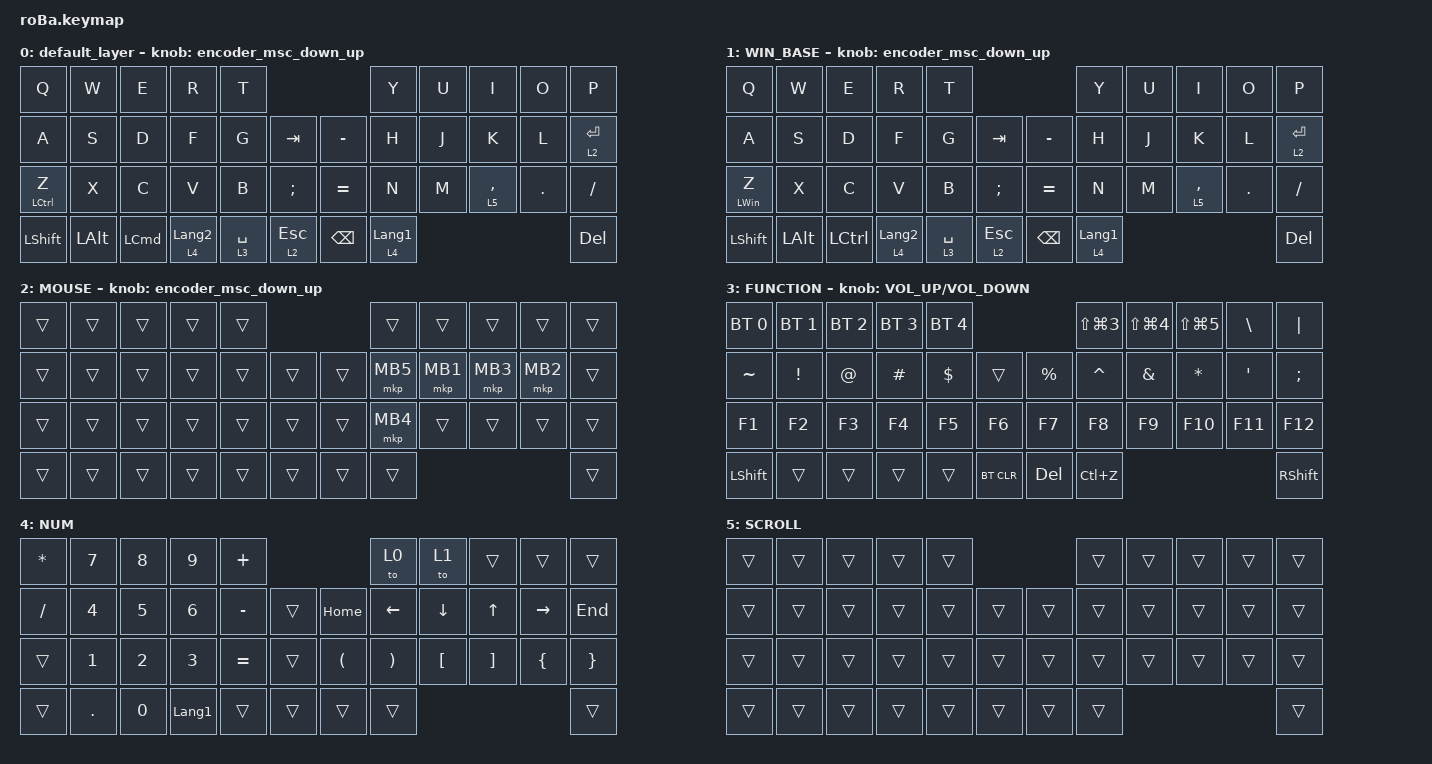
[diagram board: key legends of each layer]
#include <behaviors.dtsi>
#include <dt-bindings/zmk/bt.h>
#include <dt-bindings/zmk/keys.h>
#include <dt-bindings/zmk/pointing.h>

#define ZMK_POINTING_DEFAULT_SCRL_VAL 80

/* レイヤー定義を分かりやすくするために名前をつけておくと便利です */

#define MAC_BASE 0
#define WIN_BASE 1
#define MOUSE    2
#define FUNCTION 3
#define NUM      4
#define SCROLL   5

&mt {
    flavor = "balanced";
    quick-tap-ms = <0>;
};

&trackball { scroll-layers = <5>; };

/ {
    combos {
        compatible = "zmk,combos";

        tab {
            bindings = <&kp TAB>;
            key-positions = <11 12>;
        };

        shift_tab {
            bindings = <&kp LS(TAB)>;
            key-positions = <12 13>;
        };

        muhennkann {
            bindings = <&to_layer_0 INT_MUHENKAN>;
            key-positions = <11 10>;
        };

        double_quotation {
            bindings = <&kp DOUBLE_QUOTES>;
            key-positions = <20 21>;
        };

        eq {
            bindings = <&kp EQUAL>;
            key-positions = <24 25>;
        };
    };

    macros {
        to_layer_0: to_layer_0 {
            compatible = "zmk,behavior-macro-one-param";
            #binding-cells = <1>;
            bindings = <&to 0 &macro_param_1to1 &kp MACRO_PLACEHOLDER>;
            label = "TO_LAYER_0";
        };
    };

    behaviors {
        lt_to_layer_0: lt_to_layer_0 {
            compatible = "zmk,behavior-hold-tap";
            label = "LAYER_TAP_TO_0";
            bindings = <&mo>, <&to_layer_0>;

            #binding-cells = <2>;
            tapping-term-ms = <200>;
        };

        encoder_msc_down_up: encoder_msc_down_up {
            compatible = "zmk,behavior-sensor-rotate";
            label = "ENCODER_MSC_DOWN_UP";
            #sensor-binding-cells = <0>;
            bindings = <&msc SCRL_DOWN>, <&msc SCRL_UP>;

            tap-ms = <20>;
        };

        bs_del: backspace_delete {
            compatible = "zmk,behavior-mod-morph";
            #binding-cells = <0>;
            bindings = <&kp BACKSPACE>, <&kp DELETE>;

            mods = <(MOD_LSFT|MOD_RSFT)>;
        };

        z_ctrl: z_lctrl {
            compatible = "zmk,behavior-hold-tap";
            #binding-cells = <2>;
            tapping-term-ms = <200>;
            quick-tap-ms = <0>;
            flavor = "tap-preferred";
            bindings = <&kp>, <&kp>;
        };

        tab_fn: tab_fn {
            compatible = "zmk,behavior-hold-tap";
            #binding-cells = <2>;
            tapping-term-ms = <200>;
            quick-tap-ms = <0>;
            flavor = "tap-preferred";
            bindings = <&kp>, <&kp>;
        };
    };

    keymap {
        compatible = "zmk,keymap";

        /* Layer 0: MAC Base (Default) */

        default_layer {
            bindings = <
&kp Q            &kp W         &kp E             &kp R             &kp T                                         &kp Y             &kp U  &kp I        &kp O    &kp P
&kp A            &kp S         &kp D             &kp F             &kp G        &kp TAB           &kp MINUS      &kp H             &kp J  &kp K        &kp L    &lt 2 ENTER
&z_ctrl LCTRL Z  &kp X         &kp C             &kp V             &kp B        &kp SEMI          &kp EQUAL      &kp N             &kp M  &lt 5 COMMA  &kp DOT  &kp SLASH
&kp LEFT_SHIFT   &kp LEFT_ALT  &kp LEFT_COMMAND  &lt 4 LANGUAGE_2  &lt 3 SPACE  &lt 2 ESCAPE      &kp BACKSPACE  &lt 4 LANGUAGE_1                               &kp DELETE
            >;

            sensor-bindings = <&encoder_msc_down_up>;
        };

        /* Layer 1: WINDOWS Base */

        WIN_BASE {
            bindings = <
&kp Q               &kp W         &kp E      &kp R             &kp T                                          &kp Y             &kp U  &kp I        &kp O    &kp P
&kp A               &kp S         &kp D      &kp F             &kp G        &kp TAB            &kp MINUS      &kp H             &kp J  &kp K        &kp L    &lt 2 ENTER
&z_ctrl LEFT_WIN Z  &kp X         &kp C      &kp V             &kp B        &kp SEMICOLON      &kp EQUAL      &kp N             &kp M  &lt 5 COMMA  &kp DOT  &kp SLASH
&kp LEFT_SHIFT      &kp LEFT_ALT  &kp LCTRL  &lt 4 LANGUAGE_2  &lt 3 SPACE  &lt 2 ESCAPE       &kp BACKSPACE  &lt 4 LANGUAGE_1                               &kp DELETE
            >;

            /* MOUSE=2, FUNCTION=3, NUM=4, SCROLL=5 */

            sensor-bindings = <&encoder_msc_down_up>;
        };

        /* Layer 2: MOUSE */

        MOUSE {
            bindings = <
&trans  &trans  &trans  &trans  &trans                      &trans    &trans    &trans    &trans    &trans
&trans  &trans  &trans  &trans  &trans  &trans      &trans  &mkp MB5  &mkp MB1  &mkp MB3  &mkp MB2  &trans
&trans  &trans  &trans  &trans  &trans  &trans      &trans  &mkp MB4  &trans    &trans    &trans    &trans
&trans  &trans  &trans  &trans  &trans  &trans      &trans  &trans                                  &trans
            >;

            sensor-bindings = <&encoder_msc_down_up>;
        };

        /* Layer 3: FUNCTION */

        FUNCTION {
            bindings = <
&bt BT_SEL 0    &bt BT_SEL 1  &bt BT_SEL 2  &bt BT_SEL 3  &bt BT_SEL 4                               &kp LS(LG(NUMBER_3))  &kp LS(LG(NUMBER_4))  &kp LS(LG(NUMBER_5))  &kp BACKSLASH     &kp PIPE
&kp TILDE       &kp EXCL      &kp AT        &kp HASH      &kp DOLLAR    &trans          &kp PERCENT  &kp CARET             &kp AMPERSAND         &kp ASTERISK          &kp SINGLE_QUOTE  &kp SEMI
&kp F1          &kp F2        &kp F3        &kp F4        &kp F5        &kp F6          &kp F7       &kp F8                &kp F9                &kp F10               &kp F11           &kp F12
&kp LEFT_SHIFT  &trans        &trans        &trans        &trans        &bt BT_CLR      &kp DELETE   &kp LC(Z)                                                                           &kp RIGHT_SHIFT
            >;

            sensor-bindings = <&inc_dec_kp C_VOLUME_UP C_VOLUME_DOWN>;
        };

        /* Layer 4: NUM */

        NUM {
            bindings = <
&kp STAR   &kp NUMBER_7  &kp NUMBER_8  &kp NUMBER_9    &kp PLUS                                     &to 0                  &to 1             &trans             &trans           &trans
&kp SLASH  &kp NUMBER_4  &kp NUMBER_5  &kp NUMBER_6    &kp MINUS  &trans      &kp HOME              &kp LEFT_ARROW         &kp DOWN_ARROW    &kp UP_ARROW       &kp RIGHT_ARROW  &kp END
&trans     &kp NUMBER_1  &kp NUMBER_2  &kp NUMBER_3    &kp EQUAL  &trans      &kp LEFT_PARENTHESIS  &kp RIGHT_PARENTHESIS  &kp LEFT_BRACKET  &kp RIGHT_BRACKET  &kp LEFT_BRACE   &kp RIGHT_BRACE
&trans     &kp PERIOD    &kp NUMBER_0  &kp LANGUAGE_1  &trans     &trans      &trans                &trans                                                                       &trans
            >;
        };

        /* Layer 5: SCROLL */

        SCROLL {
            bindings = <
&trans  &trans  &trans  &trans  &trans                      &trans  &trans  &trans  &trans  &trans
&trans  &trans  &trans  &trans  &trans  &trans      &trans  &trans  &trans  &trans  &trans  &trans
&trans  &trans  &trans  &trans  &trans  &trans      &trans  &trans  &trans  &trans  &trans  &trans
&trans  &trans  &trans  &trans  &trans  &trans      &trans  &trans                          &trans
            >;
        };
    };
};
